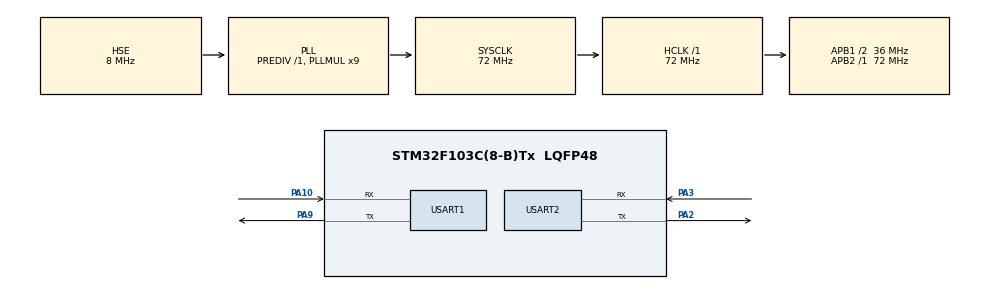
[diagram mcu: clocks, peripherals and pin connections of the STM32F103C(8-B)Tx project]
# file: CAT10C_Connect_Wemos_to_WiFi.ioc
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Mcu.Family=STM32F1
Mcu.Name=STM32F103C(8-B)Tx
Mcu.Package=LQFP48
NVIC.PriorityGroup=NVIC_PRIORITYGROUP_4
PA10.Mode=Asynchronous
PA10.Signal=USART1_RX
PA13.Mode=Serial_Wire
PA13.Signal=SYS_JTMS-SWDIO
PA14.Mode=Serial_Wire
PA14.Signal=SYS_JTCK-SWCLK
PA2.Mode=Asynchronous
PA2.Signal=USART2_TX
PA3.Mode=Asynchronous
PA3.Signal=USART2_RX
PA9.Mode=Asynchronous
PA9.Signal=USART1_TX
PD0-OSC_IN.Mode=HSE-External-Oscillator
PD0-OSC_IN.Signal=RCC_OSC_IN
PD1-OSC_OUT.Mode=HSE-External-Oscillator
PD1-OSC_OUT.Signal=RCC_OSC_OUT
ProjectManager.HeapSize=0x200
ProjectManager.StackSize=0x400
ProjectManager.TargetToolchain=STM32CubeIDE
RCC.AHBFreq_Value=72000000
RCC.APB1CLKDivider=RCC_HCLK_DIV2
RCC.APB1Freq_Value=36000000
RCC.APB1TimFreq_Value=72000000
RCC.APB2Freq_Value=72000000
RCC.APB2TimFreq_Value=72000000
RCC.HCLKFreq_Value=72000000
RCC.PLLMUL=RCC_PLL_MUL9
RCC.PLLSourceVirtual=RCC_PLLSOURCE_HSE
RCC.SYSCLKFreq_VALUE=72000000
RCC.SYSCLKSource=RCC_SYSCLKSOURCE_PLLCLK
RCC.USBFreq_Value=72000000
USART1.VirtualMode=VM_ASYNC
USART2.VirtualMode=VM_ASYNC
board=custom

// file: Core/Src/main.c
/* USER CODE BEGIN Header */
/**
  ******************************************************************************
  * @file           : main.c
  * @brief          : CAT 10 - Task C : Connect the Wemos to Wi-Fi and read its IP / MAC address
  *                    Plus a small TCP demo with AT+CIPSTART and AT+CIPSEND.
  ******************************************************************************
  * @attention
  *
  * Copyright (c) 2026 STMicroelectronics.
  * All rights reserved.
  *
  * This software is licensed under terms that can be found in the LICENSE file
  * in the root directory of this software component.
  * If no LICENSE file comes with this software, it is provided AS-IS.
  *
  ******************************************************************************
  */
/* USER CODE END Header */
#include "main.h"

/* USER CODE BEGIN Includes */
#include <string.h>
#include <stdio.h>
#include "wifi_config.h"
/* USER CODE END Includes */

/* USER CODE BEGIN PTD */
typedef enum { AT_OK = 0, AT_ERROR, AT_TIMEOUT } at_status_t;
/* USER CODE END PTD */

/* USER CODE BEGIN PD */
#define ESP_UART        (&huart1)    /* USART1 PA9/PA10  <-> Wemos D1 mini (AT firmware) */
#define PC_UART         (&huart2)    /* USART2 PA2/PA3   <-> USB-TTL -> PuTTY            */
#define AT_LINE_MAX     128U
#define AT_RESP_MAX     1024U

#define TEST_HOST       "example.com"   /* plain HTTP test server for the TCP demo */
/* USER CODE END PD */

UART_HandleTypeDef huart1;
UART_HandleTypeDef huart2;

/* USER CODE BEGIN PV */
static char resp[AT_RESP_MAX];
static char ip_addr[20];
static char mac_addr[20];
/* USER CODE END PV */

void SystemClock_Config(void);
static void MX_GPIO_Init(void);
static void MX_USART1_UART_Init(void);
static void MX_USART2_UART_Init(void);

/* USER CODE BEGIN 0 */
/* ---------------- PC terminal (USART2) ---------------- */
static void pc_print(const char *s)
{
  HAL_UART_Transmit(PC_UART, (uint8_t *)s, (uint16_t)strlen(s), HAL_MAX_DELAY);
}

static void pc_println(const char *s)
{
  pc_print(s);
  pc_print("\r\n");
}

/* ---------------- ESP8266 (USART1), polling with timeouts ---------------- */
/* Read one text line (without CR/LF). Returns its length, or -1 on timeout. */
static int esp_read_line(char *buf, uint16_t size, uint32_t timeout_ms)
{
  uint16_t len = 0;
  uint8_t  c;
  uint32_t start = HAL_GetTick();

  while ((HAL_GetTick() - start) < timeout_ms)
  {
    if (HAL_UART_Receive(ESP_UART, &c, 1, 1) != HAL_OK)
      continue;
    if (c == '\r' || c == '\n')
    {
      if (len > 0)
      {
        buf[len] = '\0';
        return len;
      }
    }
    else if (len < size - 1U)
    {
      buf[len++] = (char)c;
    }
  }
  buf[len] = '\0';
  return -1;
}

/* Send one AT command and collect every reply line until OK / ERROR / FAIL.
 * The lines are stored first and printed later, so no byte from the ESP is
 * lost while the (slower) PC terminal is being written.                 */
static at_status_t at_command(const char *cmd, char *resp, uint16_t resp_size, uint32_t timeout_ms)
{
  char     line[AT_LINE_MAX];
  uint32_t start = HAL_GetTick();

  resp[0] = '\0';
  __HAL_UART_CLEAR_OREFLAG(ESP_UART);
  HAL_UART_Transmit(ESP_UART, (uint8_t *)cmd, (uint16_t)strlen(cmd), 1000);
  HAL_UART_Transmit(ESP_UART, (uint8_t *)"\r\n", 2, 1000);

  while ((HAL_GetTick() - start) < timeout_ms)
  {
    if (esp_read_line(line, sizeof(line), timeout_ms - (HAL_GetTick() - start)) < 0)
      break;
    if (strcmp(line, cmd) == 0)
      continue;                                   /* echo of our own command */
    if ((strlen(resp) + strlen(line) + 2U) < resp_size)
    {
      strcat(resp, line);
      strcat(resp, "\n");
    }
    if (strcmp(line, "OK") == 0)                       return AT_OK;
    if (strcmp(line, "ERROR") == 0 || strcmp(line, "FAIL") == 0) return AT_ERROR;
  }
  return AT_TIMEOUT;
}

/* Print ">> command", run it, then print every reply line as "<< line" */
static at_status_t at_show(const char *cmd, uint32_t timeout_ms)
{
  static char resp[AT_RESP_MAX];
  at_status_t st;
  char *line;

  pc_print(">> ");
  pc_println(cmd);
  st = at_command(cmd, resp, sizeof(resp), timeout_ms);
  for (line = strtok(resp, "\n"); line != NULL; line = strtok(NULL, "\n"))
  {
    pc_print("<< ");
    pc_println(line);
  }
  if (st == AT_TIMEOUT)
    pc_println("<< (no reply - check wiring TX/RX crossed, 5 V, common GND)");
  return st;
}

/* Power-up: wait for the ESP to boot, check it answers, switch echo off */
static at_status_t esp_startup(void)
{
  static char resp[64];
  at_status_t st = AT_TIMEOUT;

  HAL_Delay(2000);
  __HAL_UART_CLEAR_OREFLAG(ESP_UART);
  for (int i = 0; i < 3 && st != AT_OK; i++)
    st = at_command("AT", resp, sizeof(resp), 1000);
  at_command("ATE0", resp, sizeof(resp), 1000);
  return st;
}

/* Copy the text after 'key' up to the next '"'  (for +CIFSR:STAIP,"x.x.x.x") */
static int extract_after(const char *text, const char *key, char *out, uint16_t size)
{
  const char *p = strstr(text, key);
  uint16_t n = 0;
  if (p == NULL)
    return 0;
  p += strlen(key);
  while (*p && *p != '"' && n < size - 1U)
    out[n++] = *p++;
  out[n] = '\0';
  return (n > 0);
}

/* Wait for the '>' prompt that AT+CIPSEND prints before taking the data */
static int esp_wait_prompt(uint32_t timeout_ms)
{
  uint8_t  c;
  uint32_t start = HAL_GetTick();
  while ((HAL_GetTick() - start) < timeout_ms)
    if (HAL_UART_Receive(ESP_UART, &c, 1, 1) == HAL_OK && c == '>')
      return 1;
  return 0;
}

/* Extra: open a TCP connection and send a small HTTP request (CIPSTART / CIPSEND) */
static void tcp_demo(void)
{
  char cmd[64];
  char line[AT_LINE_MAX];
  const char *req = "GET / HTTP/1.1\r\nHost: " TEST_HOST "\r\nConnection: close\r\n\r\n";

  pc_println("");
  pc_println("TCP demo: GET http://" TEST_HOST "/");
  at_command("AT+CIPMUX=0", resp, sizeof(resp), 2000);
  if (at_show("AT+CIPSTART=\"TCP\",\"" TEST_HOST "\",80", 10000) != AT_OK)
    return;

  snprintf(cmd, sizeof(cmd), "AT+CIPSEND=%u", (unsigned)strlen(req));
  if (at_command(cmd, resp, sizeof(resp), 2000) != AT_OK || !esp_wait_prompt(2000))
  {
    pc_println("CIPSEND failed");
    return;
  }
  HAL_UART_Transmit(ESP_UART, (uint8_t *)req, (uint16_t)strlen(req), 1000);

  /* the reply arrives as "+IPD,<len>:HTTP/1.1 200 OK" - show that status line */
  while (esp_read_line(line, sizeof(line), 5000) >= 0)
  {
    char *http = strstr(line, "HTTP/1.");
    if (http != NULL)
    {
      pc_print("Server replied: ");
      pc_println(http);
      break;
    }
  }
  at_command("AT+CIPCLOSE", resp, sizeof(resp), 2000);
}
/* USER CODE END 0 */

int main(void)
{

  /* MCU Configuration--------------------------------------------------------*/

  /* Reset of all peripherals, Initializes the Flash interface and the Systick. */
  HAL_Init();

  /* Configure the system clock */
  SystemClock_Config();

  /* Initialize all configured peripherals */
  MX_GPIO_Init();
  MX_USART1_UART_Init();
  MX_USART2_UART_Init();
  /* USER CODE BEGIN 2 */
  pc_println("");
  pc_println("CAT10C - Connect Wemos to Wi-Fi");
  pc_println("Initializing Wifi...");
  if (esp_startup() != AT_OK)
  {
    pc_println("ESP8266 not responding");
    Error_Handler();
  }
  pc_println("Initialized Wifi");

  at_command("AT+CWMODE=1", resp, sizeof(resp), 2000);       /* station mode */
  pc_println("Connecting to Wifi \"" WIFI_SSID "\"...");

  if (at_command("AT+CWJAP=\"" WIFI_SSID "\",\"" WIFI_PASSWORD "\"", resp, sizeof(resp), 20000) == AT_OK)
  {
    pc_println("Connected to Wifi Successfully");

    if (at_command("AT+CIFSR", resp, sizeof(resp), 3000) == AT_OK)
    {
      if (extract_after(resp, "STAIP,\"", ip_addr, sizeof(ip_addr)))
      {
        pc_print("IP Address : ");
        pc_println(ip_addr);
      }
      if (extract_after(resp, "STAMAC,\"", mac_addr, sizeof(mac_addr)))
      {
        pc_print("MAC Address: ");
        pc_println(mac_addr);
      }
    }
    tcp_demo();
  }
  else
  {
    pc_println("Failed to connect to wifi (check WIFI_SSID / WIFI_PASSWORD in wifi_config.h)");
  }
  /* USER CODE END 2 */

  /* Infinite loop */
  while (1)
  {

    /* USER CODE BEGIN 3 */
    HAL_Delay(1000);
  }
  /* USER CODE END 3 */
}

void SystemClock_Config(void)
{
  RCC_OscInitTypeDef RCC_OscInitStruct = {0};
  RCC_ClkInitTypeDef RCC_ClkInitStruct = {0};

  /** Initializes the RCC Oscillators according to the specified parameters
  * in the RCC_OscInitTypeDef structure.
  */
  RCC_OscInitStruct.OscillatorType = RCC_OSCILLATORTYPE_HSE;
  RCC_OscInitStruct.HSEState = RCC_HSE_ON;
  RCC_OscInitStruct.HSEPredivValue = RCC_HSE_PREDIV_DIV1;
  RCC_OscInitStruct.HSIState = RCC_HSI_ON;
  RCC_OscInitStruct.PLL.PLLState = RCC_PLL_ON;
  RCC_OscInitStruct.PLL.PLLSource = RCC_PLLSOURCE_HSE;
  RCC_OscInitStruct.PLL.PLLMUL = RCC_PLL_MUL9;
  if (HAL_RCC_OscConfig(&RCC_OscInitStruct) != HAL_OK)
  {
    Error_Handler();
  }

  /** Initializes the CPU, AHB and APB buses clocks
  */
  RCC_ClkInitStruct.ClockType = RCC_CLOCKTYPE_HCLK|RCC_CLOCKTYPE_SYSCLK
                              |RCC_CLOCKTYPE_PCLK1|RCC_CLOCKTYPE_PCLK2;
  RCC_ClkInitStruct.SYSCLKSource = RCC_SYSCLKSOURCE_PLLCLK;
  RCC_ClkInitStruct.AHBCLKDivider = RCC_SYSCLK_DIV1;
  RCC_ClkInitStruct.APB1CLKDivider = RCC_HCLK_DIV2;
  RCC_ClkInitStruct.APB2CLKDivider = RCC_HCLK_DIV1;

  if (HAL_RCC_ClockConfig(&RCC_ClkInitStruct, FLASH_LATENCY_2) != HAL_OK)
  {
    Error_Handler();
  }
}

static void MX_USART1_UART_Init(void)
{

  huart1.Instance = USART1;
  huart1.Init.BaudRate = 115200;
  huart1.Init.WordLength = UART_WORDLENGTH_8B;
  huart1.Init.StopBits = UART_STOPBITS_1;
  huart1.Init.Parity = UART_PARITY_NONE;
  huart1.Init.Mode = UART_MODE_TX_RX;
  huart1.Init.HwFlowCtl = UART_HWCONTROL_NONE;
  huart1.Init.OverSampling = UART_OVERSAMPLING_16;
  if (HAL_UART_Init(&huart1) != HAL_OK)
  {
    Error_Handler();
  }

}

static void MX_USART2_UART_Init(void)
{

  huart2.Instance = USART2;
  huart2.Init.BaudRate = 115200;
  huart2.Init.WordLength = UART_WORDLENGTH_8B;
  huart2.Init.StopBits = UART_STOPBITS_1;
  huart2.Init.Parity = UART_PARITY_NONE;
  huart2.Init.Mode = UART_MODE_TX_RX;
  huart2.Init.HwFlowCtl = UART_HWCONTROL_NONE;
  huart2.Init.OverSampling = UART_OVERSAMPLING_16;
  if (HAL_UART_Init(&huart2) != HAL_OK)
  {
    Error_Handler();
  }

}

static void MX_GPIO_Init(void)
{

  /* GPIO Ports Clock Enable */
  __HAL_RCC_GPIOD_CLK_ENABLE();
  __HAL_RCC_GPIOA_CLK_ENABLE();

}

void Error_Handler(void)
{
  __disable_irq();
  while (1)
  {
  }
}
